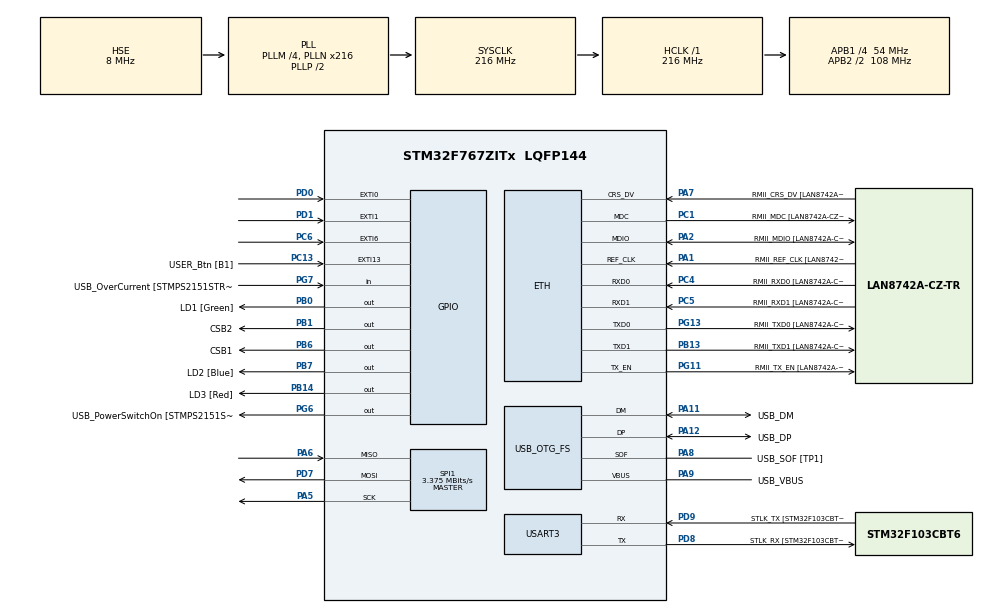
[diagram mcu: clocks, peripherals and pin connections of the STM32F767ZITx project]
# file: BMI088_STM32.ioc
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ETH.MediaInterface=ETH_MEDIA_INTERFACE_RMII
ETH.PHY_Name=LAN8742A_PHY_ADDRESS
ETH.PHY_Value=0
ETH.PhyAddress=0
Mcu.Family=STM32F7
Mcu.Name=STM32F767ZITx
Mcu.Package=LQFP144
NVIC.EXTI0_IRQn=true\:0\:0\:false\:false\:true\:true\:true
NVIC.EXTI1_IRQn=true\:0\:0\:false\:false\:true\:true\:true
NVIC.PriorityGroup=NVIC_PRIORITYGROUP_4
PA1.GPIO_Label=RMII_REF_CLK [LAN8742A-CZ-TR_REFCLK0]
PA1.Mode=RMII
PA1.Signal=ETH_REF_CLK
PA10.GPIO_Label=USB_ID
PA10.Signal=USB_OTG_FS_ID
PA11.GPIO_Label=USB_DM
PA11.Mode=Device_Only
PA11.Signal=USB_OTG_FS_DM
PA12.GPIO_Label=USB_DP
PA12.Mode=Device_Only
PA12.Signal=USB_OTG_FS_DP
PA13.GPIO_Label=TMS
PA13.Mode=Serial_Wire
PA13.Signal=SYS_JTMS-SWDIO
PA14.GPIO_Label=TCK
PA14.Mode=Serial_Wire
PA14.Signal=SYS_JTCK-SWCLK
PA2.GPIO_Label=RMII_MDIO [LAN8742A-CZ-TR_MDIO]
PA2.Mode=RMII
PA2.Signal=ETH_MDIO
PA5.Mode=Full_Duplex_Master
PA5.Signal=SPI1_SCK
PA6.Mode=Full_Duplex_Master
PA6.Signal=SPI1_MISO
PA7.GPIO_Label=RMII_CRS_DV [LAN8742A-CZ-TR_CRS_DV]
PA7.Mode=RMII
PA7.Signal=ETH_CRS_DV
PA8.GPIO_Label=USB_SOF [TP1]
PA8.Mode=Activate_SOF_FS
PA8.Signal=USB_OTG_FS_SOF
PA9.GPIO_Label=USB_VBUS
PA9.Mode=Activate_VBUS
PA9.Signal=USB_OTG_FS_VBUS
PB0.GPIO_Label=LD1 [Green]
PB0.Signal=GPIO_Output
PB1.GPIO_Label=CSB2
PB1.Signal=GPIO_Output
PB13.GPIO_Label=RMII_TXD1 [LAN8742A-CZ-TR_TXD1]
PB13.Mode=RMII
PB13.Signal=ETH_TXD1
PB14.GPIO_Label=LD3 [Red]
PB14.Signal=GPIO_Output
PB3.GPIO_Label=SWO
PB3.Signal=SYS_JTDO-SWO
PB6.GPIO_Label=CSB1
PB6.Signal=GPIO_Output
PB7.GPIO_Label=LD2 [Blue]
PB7.Signal=GPIO_Output
PC1.GPIO_Label=RMII_MDC [LAN8742A-CZ-TR_MDC]
PC1.Mode=RMII
PC1.Signal=ETH_MDC
PC13.GPIO_Label=USER_Btn [B1]
PC13.Signal=GPXTI13
PC14/OSC32_IN.Mode=LSE-External-Oscillator
PC14/OSC32_IN.Signal=RCC_OSC32_IN
PC15/OSC32_OUT.Mode=LSE-External-Oscillator
PC15/OSC32_OUT.Signal=RCC_OSC32_OUT
PC4.GPIO_Label=RMII_RXD0 [LAN8742A-CZ-TR_RXD0]
PC4.Mode=RMII
PC4.Signal=ETH_RXD0
PC5.GPIO_Label=RMII_RXD1 [LAN8742A-CZ-TR_RXD1]
PC5.Mode=RMII
PC5.Signal=ETH_RXD1
PC6.Signal=GPXTI6
PD0.Signal=GPXTI0
PD1.Signal=GPXTI1
PD14.Signal=S_TIM4_CH3
PD7.Mode=Full_Duplex_Master
PD7.Signal=SPI1_MOSI
PD8.GPIO_Label=STLK_RX [STM32F103CBT6_PA3]
PD8.Mode=Asynchronous
PD8.Signal=USART3_TX
PD9.GPIO_Label=STLK_TX [STM32F103CBT6_PA2]
PD9.Mode=Asynchronous
PD9.Signal=USART3_RX
PG11.GPIO_Label=RMII_TX_EN [LAN8742A-CZ-TR_TXEN]
PG11.Mode=RMII
PG11.Signal=ETH_TX_EN
PG13.GPIO_Label=RMII_TXD0 [LAN8742A-CZ-TR_TXD0]
PG13.Mode=RMII
PG13.Signal=ETH_TXD0
PG6.GPIO_Label=USB_PowerSwitchOn [STMPS2151STR_EN]
PG6.Signal=GPIO_Output
PG7.GPIO_Label=USB_OverCurrent [STMPS2151STR_FAULT]
PG7.Signal=GPIO_Input
PH0/OSC_IN.GPIO_Label=MCO [STM32F103CBT6_PA8]
PH0/OSC_IN.Mode=HSE-External-Clock-Source
PH0/OSC_IN.Signal=RCC_OSC_IN
PH1/OSC_OUT.Mode=HSE-External-Clock-Source
PH1/OSC_OUT.Signal=RCC_OSC_OUT
ProjectManager.HeapSize=0x200
ProjectManager.StackSize=0x400
ProjectManager.TargetToolchain=MDK-ARM V5
RCC.48MHZClocksFreq_Value=24000000
RCC.AHBFreq_Value=216000000
RCC.APB1CLKDivider=RCC_HCLK_DIV4
RCC.APB1Freq_Value=54000000
RCC.APB1TimFreq_Value=108000000
RCC.APB2CLKDivider=RCC_HCLK_DIV2
RCC.APB2Freq_Value=108000000
RCC.APB2TimFreq_Value=216000000
RCC.CortexFreq_Value=216000000
RCC.HCLKFreq_Value=216000000
RCC.HSE_VALUE=8000000
RCC.HSI_VALUE=16000000
RCC.PLLM=4
RCC.PLLMUL=RCC_PLL_MUL9
RCC.PLLN=216
RCC.PLLQ=9
RCC.PRESCALERUSB=RCC_USBCLKSOURCE_PLL_DIV1_5
RCC.SYSCLKFreq_VALUE=216000000
RCC.SYSCLKSource=RCC_SYSCLKSOURCE_PLLCLK
RCC.SYSCLKSourceVirtual=RCC_SYSCLKSOURCE_PLLCLK
RCC.USBFreq_Value=48000000
RCC.VCOOutputFreq_Value=432000000
SH.S_TIM4_CH3.0=TIM4_CH3
SPI1.BaudRatePrescaler=SPI_BAUDRATEPRESCALER_32
SPI1.CalculateBaudRate=3.375 MBits/s
SPI1.DataSize=SPI_DATASIZE_8BIT
SPI1.Direction=SPI_DIRECTION_2LINES
SPI1.Mode=SPI_MODE_MASTER
SPI1.VirtualType=VM_MASTER
USART3.VirtualMode-Asynchronous=VM_ASYNC
USB_OTG_FS.VirtualMode=Device_Only
board=NUCLEO-F767ZI

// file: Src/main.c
/* USER CODE BEGIN Header */
/**
  ******************************************************************************
  * @file           : main.c
  * @brief          : Main program body
  ******************************************************************************
  ** This notice applies to any and all portions of this file
  * that are not between comment pairs USER CODE BEGIN and
  * USER CODE END. Other portions of this file, whether
  * inserted by the user or by software development tools
  * are owned by their respective copyright owners.
  *
  * COPYRIGHT(c) 2019 STMicroelectronics
  *
  * Redistribution and use in source and binary forms, with or without modification,
  * are permitted provided that the following conditions are met:
  *   1. Redistributions of source code must retain the above copyright notice,
  *      this list of conditions and the following disclaimer.
  *   2. Redistributions in binary form must reproduce the above copyright notice,
  *      this list of conditions and the following disclaimer in the documentation
  *      and/or other materials provided with the distribution.
  *   3. Neither the name of STMicroelectronics nor the names of its contributors
  *      may be used to endorse or promote products derived from this software
  *      without specific prior written permission.
  *
  * THIS SOFTWARE IS PROVIDED BY THE COPYRIGHT HOLDERS AND CONTRIBUTORS "AS IS"
  * AND ANY EXPRESS OR IMPLIED WARRANTIES, INCLUDING, BUT NOT LIMITED TO, THE
  * IMPLIED WARRANTIES OF MERCHANTABILITY AND FITNESS FOR A PARTICULAR PURPOSE ARE
  * DISCLAIMED. IN NO EVENT SHALL THE COPYRIGHT HOLDER OR CONTRIBUTORS BE LIABLE
  * FOR ANY DIRECT, INDIRECT, INCIDENTAL, SPECIAL, EXEMPLARY, OR CONSEQUENTIAL
  * DAMAGES (INCLUDING, BUT NOT LIMITED TO, PROCUREMENT OF SUBSTITUTE GOODS OR
  * SERVICES; LOSS OF USE, DATA, OR PROFITS; OR BUSINESS INTERRUPTION) HOWEVER
  * CAUSED AND ON ANY THEORY OF LIABILITY, WHETHER IN CONTRACT, STRICT LIABILITY,
  * OR TORT (INCLUDING NEGLIGENCE OR OTHERWISE) ARISING IN ANY WAY OUT OF THE USE
  * OF THIS SOFTWARE, EVEN IF ADVISED OF THE POSSIBILITY OF SUCH DAMAGE.
  *
  ******************************************************************************
  */
/* USER CODE END Header */

#include "main.h"

/* USER CODE BEGIN Includes */
#include "bmi08x.h"
#include "bmi088.h"
#include "bmi088_stm32.h"
/* USER CODE END Includes */

ETH_HandleTypeDef heth;

SPI_HandleTypeDef hspi1;

UART_HandleTypeDef huart3;

PCD_HandleTypeDef hpcd_USB_OTG_FS;

void SystemClock_Config(void);
static void MX_GPIO_Init(void);
static void MX_ETH_Init(void);
static void MX_USART3_UART_Init(void);
static void MX_USB_OTG_FS_PCD_Init(void);
static void MX_SPI1_Init(void);

/* USER CODE BEGIN 0 */

/*结构体初始化配置*/
struct bmi08x_dev dev = {
        .accel_id = CSB1_Pin,
        .gyro_id = CSB2_Pin,
        .intf = BMI08X_SPI_INTF,
        .read = &stm32_spi_read,//user_spi_read
        .write = &stm32_spi_write,//user_spi_write
        .delay_ms = &HAL_Delay//user_delay_milli_sec
		//.accel_cfg.odr = BMI08X_ACCEL_ODR_400_HZ,
		//.accel_cfg.bw = BMI08X_ACCEL_BW_NORMAL,
		//.accel_cfg.range = BMI088_ACCEL_RANGE_3G
};

struct bmi08x_int_cfg int_config;
struct bmi08x_data_sync_cfg sync_cfg;
int8_t rslt;
struct bmi08x_sensor_data user_accel_bmi088;
struct bmi08x_sensor_data user_gyro_bmi088;
uint8_t data = 0;
int count2=0;
int init_flag=0;

/* USER CODE END 0 */

int main(void)
{

  /* MCU Configuration--------------------------------------------------------*/

  /* Reset of all peripherals, Initializes the Flash interface and the Systick. */
  HAL_Init();

  /* Configure the system clock */
  SystemClock_Config();

  /* Initialize all configured peripherals */
  MX_GPIO_Init();
  MX_ETH_Init();
  MX_USART3_UART_Init();
  MX_USB_OTG_FS_PCD_Init();
  MX_SPI1_Init();
  /* USER CODE BEGIN 2 */

  HAL_GPIO_WritePin(LD1_GPIO_Port,LD1_Pin,GPIO_PIN_RESET);
  HAL_GPIO_WritePin(LD2_GPIO_Port,LD2_Pin,GPIO_PIN_RESET);

	//初始化
  /* Initialize bmi085 sensors (accel & gyro)*/
  rslt = bmi088_init(&dev);
  /* Reset the accelerometer and wait for 1 ms - delay taken care inside the function */
  rslt = bmi08a_soft_reset(&dev);

  /*! Max read/write length (maximum supported length is 32).
   To be set by the user */
  dev.read_write_len = 32;
  /*set accel power mode */
  dev.accel_cfg.power = BMI08X_ACCEL_PM_ACTIVE;
  rslt = bmi08a_set_power_mode(&dev);

  dev.gyro_cfg.power = BMI08X_GYRO_PM_NORMAL;
  bmi08g_set_power_mode(&dev);

  /* API uploads the bmi08x config file onto the device and wait for 150ms
     to enable the data synchronization - delay taken care inside the function */
  rslt = bmi088_apply_config_file(&dev);

  /*assign accel range setting*/
  dev.accel_cfg.range = BMI088_ACCEL_RANGE_3G;
  /*assign gyro range setting*/
  dev.gyro_cfg.range = BMI08X_GYRO_RANGE_2000_DPS;
  /*! Mode (0 = off, 1 = 400Hz, 2 = 1kHz, 3 = 2kHz) */
  sync_cfg.mode = BMI08X_ACCEL_DATA_SYNC_MODE_2000HZ;
  rslt = bmi088_configure_data_synchronization(sync_cfg, &dev);

  /*set accel interrupt pin configuration*/
  /*configure host data ready interrupt */
  int_config.accel_int_config_1.int_channel = BMI08X_INT_CHANNEL_1;
  int_config.accel_int_config_1.int_type = BMI08X_ACCEL_SYNC_INPUT;
  int_config.accel_int_config_1.int_pin_cfg.output_mode = BMI08X_INT_MODE_PUSH_PULL;
  int_config.accel_int_config_1.int_pin_cfg.lvl = BMI08X_INT_ACTIVE_HIGH;
  int_config.accel_int_config_1.int_pin_cfg.enable_int_pin = BMI08X_ENABLE;

  /*configure Accel syncronization input interrupt pin */
  int_config.accel_int_config_2.int_channel = BMI08X_INT_CHANNEL_2;
  int_config.accel_int_config_2.int_type = BMI08X_ACCEL_SYNC_DATA_RDY_INT;
  int_config.accel_int_config_2.int_pin_cfg.output_mode = BMI08X_INT_MODE_PUSH_PULL;
  int_config.accel_int_config_2.int_pin_cfg.lvl = BMI08X_INT_ACTIVE_HIGH;
  int_config.accel_int_config_2.int_pin_cfg.enable_int_pin = BMI08X_ENABLE;

  /*set gyro interrupt pin configuration*/
  int_config.gyro_int_config_1.int_channel = BMI08X_INT_CHANNEL_3;
  int_config.gyro_int_config_1.int_type = BMI08X_GYRO_DATA_RDY_INT;
  int_config.gyro_int_config_1.int_pin_cfg.enable_int_pin = BMI08X_ENABLE;
  int_config.gyro_int_config_1.int_pin_cfg.lvl = BMI08X_INT_ACTIVE_HIGH;
  int_config.gyro_int_config_1.int_pin_cfg.output_mode = BMI08X_INT_MODE_PUSH_PULL;

  int_config.gyro_int_config_2.int_channel = BMI08X_INT_CHANNEL_4;
  int_config.gyro_int_config_2.int_type = BMI08X_GYRO_DATA_RDY_INT;
  int_config.gyro_int_config_2.int_pin_cfg.enable_int_pin = BMI08X_DISABLE;
  int_config.gyro_int_config_2.int_pin_cfg.lvl = BMI08X_INT_ACTIVE_HIGH;
  int_config.gyro_int_config_2.int_pin_cfg.output_mode = BMI08X_INT_MODE_PUSH_PULL;

  /* Enable synchronization interrupt pin */
  rslt = bmi088_set_data_sync_int_config(&int_config, &dev);

  init_flag=1;
  /* USER CODE END 2 */

  /* Infinite loop */
  /* USER CODE BEGIN WHILE */
  while (1)
  {
    //HAL_GPIO_TogglePin(LD3_GPIO_Port, LD3_Pin);
	//HAL_Delay(100);
    /* USER CODE END WHILE */

  }
}

void SystemClock_Config(void)
{
  RCC_OscInitTypeDef RCC_OscInitStruct = {0};
  RCC_ClkInitTypeDef RCC_ClkInitStruct = {0};
  RCC_PeriphCLKInitTypeDef PeriphClkInitStruct = {0};

  /** Configure LSE Drive Capability
  */
  HAL_PWR_EnableBkUpAccess();
  /** Configure the main internal regulator output voltage
  */
  __HAL_RCC_PWR_CLK_ENABLE();
  __HAL_PWR_VOLTAGESCALING_CONFIG(PWR_REGULATOR_VOLTAGE_SCALE1);
  /** Initializes the CPU, AHB and APB busses clocks
  */
  RCC_OscInitStruct.OscillatorType = RCC_OSCILLATORTYPE_HSE;
  RCC_OscInitStruct.HSEState = RCC_HSE_BYPASS;
  RCC_OscInitStruct.PLL.PLLState = RCC_PLL_ON;
  RCC_OscInitStruct.PLL.PLLSource = RCC_PLLSOURCE_HSE;
  RCC_OscInitStruct.PLL.PLLM = 4;
  RCC_OscInitStruct.PLL.PLLN = 216;
  RCC_OscInitStruct.PLL.PLLP = RCC_PLLP_DIV2;
  RCC_OscInitStruct.PLL.PLLQ = 9;
  if (HAL_RCC_OscConfig(&RCC_OscInitStruct) != HAL_OK)
  {
    Error_Handler();
  }
  /** Activate the Over-Drive mode
  */
  if (HAL_PWREx_EnableOverDrive() != HAL_OK)
  {
    Error_Handler();
  }
  /** Initializes the CPU, AHB and APB busses clocks
  */
  RCC_ClkInitStruct.ClockType = RCC_CLOCKTYPE_HCLK|RCC_CLOCKTYPE_SYSCLK
                              |RCC_CLOCKTYPE_PCLK1|RCC_CLOCKTYPE_PCLK2;
  RCC_ClkInitStruct.SYSCLKSource = RCC_SYSCLKSOURCE_PLLCLK;
  RCC_ClkInitStruct.AHBCLKDivider = RCC_SYSCLK_DIV1;
  RCC_ClkInitStruct.APB1CLKDivider = RCC_HCLK_DIV4;
  RCC_ClkInitStruct.APB2CLKDivider = RCC_HCLK_DIV2;

  if (HAL_RCC_ClockConfig(&RCC_ClkInitStruct, FLASH_LATENCY_7) != HAL_OK)
  {
    Error_Handler();
  }
  PeriphClkInitStruct.PeriphClockSelection = RCC_PERIPHCLK_USART3|RCC_PERIPHCLK_CLK48;
  PeriphClkInitStruct.Usart3ClockSelection = RCC_USART3CLKSOURCE_PCLK1;
  PeriphClkInitStruct.Clk48ClockSelection = RCC_CLK48SOURCE_PLL;
  if (HAL_RCCEx_PeriphCLKConfig(&PeriphClkInitStruct) != HAL_OK)
  {
    Error_Handler();
  }
}

static void MX_ETH_Init(void)
{

   uint8_t MACAddr[6] ;

  heth.Instance = ETH;
  heth.Init.AutoNegotiation = ETH_AUTONEGOTIATION_ENABLE;
  heth.Init.PhyAddress = LAN8742A_PHY_ADDRESS;
  MACAddr[0] = 0x00;
  MACAddr[1] = 0x80;
  MACAddr[2] = 0xE1;
  MACAddr[3] = 0x00;
  MACAddr[4] = 0x00;
  MACAddr[5] = 0x00;
  heth.Init.MACAddr = &MACAddr[0];
  heth.Init.RxMode = ETH_RXPOLLING_MODE;
  heth.Init.ChecksumMode = ETH_CHECKSUM_BY_HARDWARE;
  heth.Init.MediaInterface = ETH_MEDIA_INTERFACE_RMII;

  if (HAL_ETH_Init(&heth) != HAL_OK)
  {
    Error_Handler();
  }

}

static void MX_SPI1_Init(void)
{

  /* SPI1 parameter configuration*/
  hspi1.Instance = SPI1;
  hspi1.Init.Mode = SPI_MODE_MASTER;
  hspi1.Init.Direction = SPI_DIRECTION_2LINES;
  hspi1.Init.DataSize = SPI_DATASIZE_8BIT;
  hspi1.Init.CLKPolarity = SPI_POLARITY_LOW;
  hspi1.Init.CLKPhase = SPI_PHASE_1EDGE;
  hspi1.Init.NSS = SPI_NSS_SOFT;
  hspi1.Init.BaudRatePrescaler = SPI_BAUDRATEPRESCALER_32;
  hspi1.Init.FirstBit = SPI_FIRSTBIT_MSB;
  hspi1.Init.TIMode = SPI_TIMODE_DISABLE;
  hspi1.Init.CRCCalculation = SPI_CRCCALCULATION_DISABLE;
  hspi1.Init.CRCPolynomial = 7;
  hspi1.Init.CRCLength = SPI_CRC_LENGTH_DATASIZE;
  hspi1.Init.NSSPMode = SPI_NSS_PULSE_ENABLE;
  if (HAL_SPI_Init(&hspi1) != HAL_OK)
  {
    Error_Handler();
  }

}

static void MX_USART3_UART_Init(void)
{

  huart3.Instance = USART3;
  huart3.Init.BaudRate = 115200;
  huart3.Init.WordLength = UART_WORDLENGTH_8B;
  huart3.Init.StopBits = UART_STOPBITS_1;
  huart3.Init.Parity = UART_PARITY_NONE;
  huart3.Init.Mode = UART_MODE_TX_RX;
  huart3.Init.HwFlowCtl = UART_HWCONTROL_NONE;
  huart3.Init.OverSampling = UART_OVERSAMPLING_16;
  huart3.Init.OneBitSampling = UART_ONE_BIT_SAMPLE_DISABLE;
  huart3.AdvancedInit.AdvFeatureInit = UART_ADVFEATURE_NO_INIT;
  if (HAL_UART_Init(&huart3) != HAL_OK)
  {
    Error_Handler();
  }

}

static void MX_USB_OTG_FS_PCD_Init(void)
{

  hpcd_USB_OTG_FS.Instance = USB_OTG_FS;
  hpcd_USB_OTG_FS.Init.dev_endpoints = 6;
  hpcd_USB_OTG_FS.Init.speed = PCD_SPEED_FULL;
  hpcd_USB_OTG_FS.Init.dma_enable = DISABLE;
  hpcd_USB_OTG_FS.Init.phy_itface = PCD_PHY_EMBEDDED;
  hpcd_USB_OTG_FS.Init.Sof_enable = ENABLE;
  hpcd_USB_OTG_FS.Init.low_power_enable = DISABLE;
  hpcd_USB_OTG_FS.Init.lpm_enable = DISABLE;
  hpcd_USB_OTG_FS.Init.vbus_sensing_enable = ENABLE;
  hpcd_USB_OTG_FS.Init.use_dedicated_ep1 = DISABLE;
  if (HAL_PCD_Init(&hpcd_USB_OTG_FS) != HAL_OK)
  {
    Error_Handler();
  }

}

static void MX_GPIO_Init(void)
{
  GPIO_InitTypeDef GPIO_InitStruct = {0};

  /* GPIO Ports Clock Enable */
  __HAL_RCC_GPIOC_CLK_ENABLE();
  __HAL_RCC_GPIOH_CLK_ENABLE();
  __HAL_RCC_GPIOA_CLK_ENABLE();
  __HAL_RCC_GPIOB_CLK_ENABLE();
  __HAL_RCC_GPIOD_CLK_ENABLE();
  __HAL_RCC_GPIOG_CLK_ENABLE();

  /*Configure GPIO pin Output Level */
  HAL_GPIO_WritePin(GPIOB, LD1_Pin|CSB2_Pin|LD3_Pin|CSB1_Pin
                          |LD2_Pin, GPIO_PIN_RESET);

  /*Configure GPIO pin Output Level */
  HAL_GPIO_WritePin(USB_PowerSwitchOn_GPIO_Port, USB_PowerSwitchOn_Pin, GPIO_PIN_RESET);

  /*Configure GPIO pins : USER_Btn_Pin PC6 */
  GPIO_InitStruct.Pin = USER_Btn_Pin|GPIO_PIN_6;
  GPIO_InitStruct.Mode = GPIO_MODE_IT_RISING;
  GPIO_InitStruct.Pull = GPIO_NOPULL;
  HAL_GPIO_Init(GPIOC, &GPIO_InitStruct);

  /*Configure GPIO pins : LD1_Pin CSB2_Pin LD3_Pin CSB1_Pin
                           LD2_Pin */
  GPIO_InitStruct.Pin = LD1_Pin|CSB2_Pin|LD3_Pin|CSB1_Pin
                          |LD2_Pin;
  GPIO_InitStruct.Mode = GPIO_MODE_OUTPUT_PP;
  GPIO_InitStruct.Pull = GPIO_NOPULL;
  GPIO_InitStruct.Speed = GPIO_SPEED_FREQ_LOW;
  HAL_GPIO_Init(GPIOB, &GPIO_InitStruct);

  /*Configure GPIO pin : PD14 */
  GPIO_InitStruct.Pin = GPIO_PIN_14;
  GPIO_InitStruct.Mode = GPIO_MODE_AF_PP;
  GPIO_InitStruct.Pull = GPIO_NOPULL;
  GPIO_InitStruct.Speed = GPIO_SPEED_FREQ_LOW;
  GPIO_InitStruct.Alternate = GPIO_AF2_TIM4;
  HAL_GPIO_Init(GPIOD, &GPIO_InitStruct);

  /*Configure GPIO pin : USB_PowerSwitchOn_Pin */
  GPIO_InitStruct.Pin = USB_PowerSwitchOn_Pin;
  GPIO_InitStruct.Mode = GPIO_MODE_OUTPUT_PP;
  GPIO_InitStruct.Pull = GPIO_NOPULL;
  GPIO_InitStruct.Speed = GPIO_SPEED_FREQ_LOW;
  HAL_GPIO_Init(USB_PowerSwitchOn_GPIO_Port, &GPIO_InitStruct);

  /*Configure GPIO pin : USB_OverCurrent_Pin */
  GPIO_InitStruct.Pin = USB_OverCurrent_Pin;
  GPIO_InitStruct.Mode = GPIO_MODE_INPUT;
  GPIO_InitStruct.Pull = GPIO_NOPULL;
  HAL_GPIO_Init(USB_OverCurrent_GPIO_Port, &GPIO_InitStruct);

  /*Configure GPIO pins : PD0 PD1 */
  GPIO_InitStruct.Pin = GPIO_PIN_0|GPIO_PIN_1;
  GPIO_InitStruct.Mode = GPIO_MODE_IT_RISING;
  GPIO_InitStruct.Pull = GPIO_NOPULL;
  HAL_GPIO_Init(GPIOD, &GPIO_InitStruct);

  /* EXTI interrupt init*/
  HAL_NVIC_SetPriority(EXTI0_IRQn, 0, 0);
  HAL_NVIC_EnableIRQ(EXTI0_IRQn);

  HAL_NVIC_SetPriority(EXTI1_IRQn, 0, 0);
  HAL_NVIC_EnableIRQ(EXTI1_IRQn);

}

void Error_Handler(void)
{
}

/************************ (C) COPYRIGHT STMicroelectronics *****END OF FILE****/
